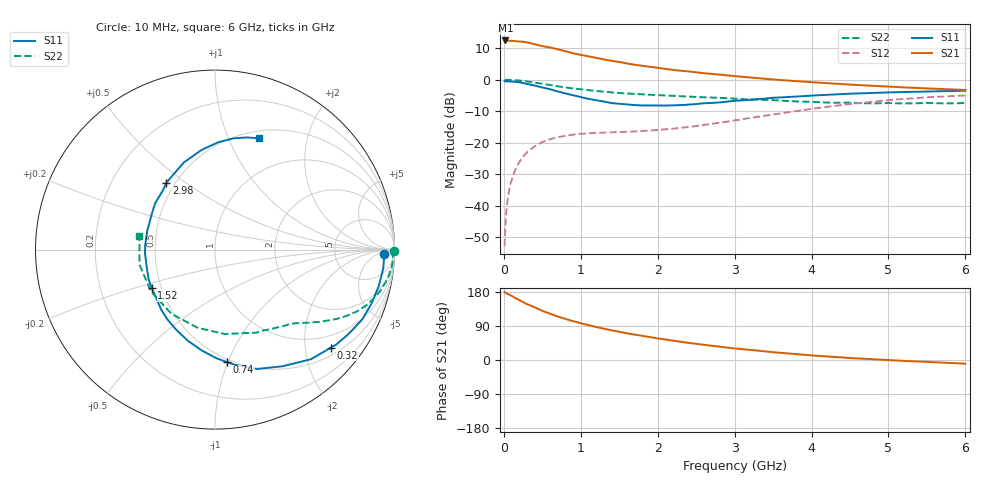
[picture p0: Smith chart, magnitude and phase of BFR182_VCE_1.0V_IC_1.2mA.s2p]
! Infineon Technologies  Discrete & RF Semiconductors
! BFR182
! VCE =  1.0 V,  IC =  1.2 mA
! Common Emitter S-Parameters:  Nov 2015
# GHz  S  MA  R  50
!  f  S11  S21  S12  S22
! GHz  MAG  ANG  MAG  ANG  MAG  ANG  MAG  ANG
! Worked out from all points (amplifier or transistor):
!   210 points, 10 MHz to 6 GHz, reference 50 ohm
!   highest |S21| = 12.4 dB at 20 MHz (marker M1)
!   |S21| within 3 dB of that: start of sweep to 735.9 MHz
!   unconditionally stable (mu >= 1): 1.642 GHz to 3.411 GHz
!   at 185 MHz: K = 0.13, MSG = 19.5 dB, |S12| = -26.8 dB
!   at 1.52 GHz: K = 0.94, MSG = 11.1 dB, |S12| = -16.6 dB
!   at 6 GHz: K = 0.96, MSG = 0.9 dB, |S12| = -5.0 dB
!   S11 on the Smith chart (normalised r, x): 10 MHz: 29, -12; 320 MHz: 0.67, -2.58; 740 MHz: 0.48, -0.99; 1.52 GHz: 0.44, -0.23; 2.98 GHz: 0.45, +0.42; 6 GHz: 0.58, +1.30
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0.01  0.9438 -1.4  4.153 179.3  0.0023 92.6  0.9978 -0.6
0.02  0.943 -2.7  4.173 177.7  0.0049 91.4  0.9881 -1.1
0.035  0.9427 -4.6  4.148 176.2  0.0088 87.4  0.991 -2.0
0.05  0.9433 -6.4  4.125 174.7  0.0127 85.9  0.9941 -2.8
0.105  0.933 -13.3  4.129 168.8  0.0266 82.0  0.9881 -5.9
0.15  0.9222 -19.1  4.079 163.2  0.0374 77.7  0.9789 -8.5
0.24  0.8857 -30.7  4 153.9  0.058 71.3  0.9557 -13.0
0.32  0.8459 -40.2  3.844 146.0  0.0737 66.2  0.9278 -16.8
0.5  0.7511 -59.9  3.4 129.7  0.1025 56.2  0.8606 -23.7
0.6  0.7044 -70.9  3.238 121.9  0.1138 51.4  0.82 -26.8
0.74  0.6305 -83.8  2.945 112.3  0.1249 46.3  0.7703 -30.3
0.9  0.567 -97.4  2.61 102.4  0.1348 42.1  0.7256 -33.3
1.02  0.5223 -108.3  2.44 96.0  0.1393 39.8  0.6976 -35.3
1.2  0.4716 -124.0  2.211 86.9  0.1433 37.4  0.6612 -38.1
1.52  0.4121 -148.7  1.885 73.9  0.148 37.5  0.6112 -42.1
2.02  0.3892 175.2  1.524 56.3  0.1604 41.5  0.5676 -48.8
2.4  0.4017 152.5  1.349 45.1  0.177 46.3  0.5401 -55.4
2.98  0.4587 126.3  1.144 30.9  0.2231 50.6  0.5007 -67.9
3.1  0.4694 122.1  1.109 28.6  0.2359 50.7  0.4915 -71.2
4.1  0.5667 95.7  0.895 10.7  0.3572 45.7  0.4387 -106.6
5.1  0.6322 79.2  0.763 -1.3  0.4828 32.2  0.4218 -151.0
6  0.6673 68.2  0.686 -9.7  0.5617 17.1  0.4275 169.8
